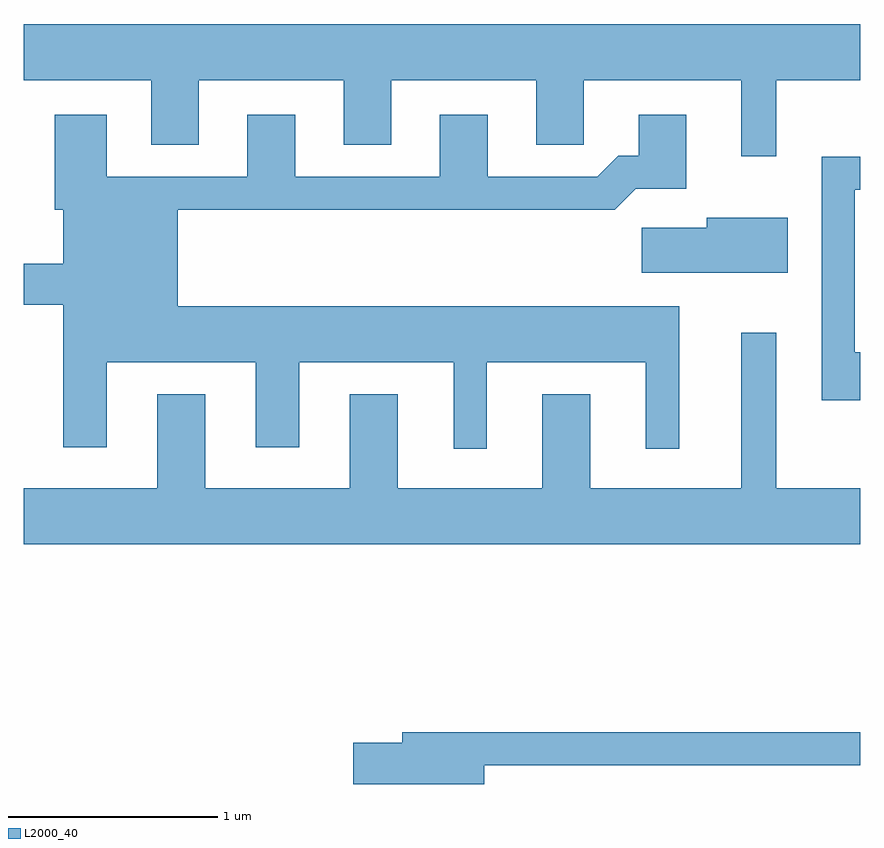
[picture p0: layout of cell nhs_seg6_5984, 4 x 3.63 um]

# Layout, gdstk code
import gdstk
lib = gdstk.Library(unit=1e-6, precision=1e-09)
def P(c, l, *ps):  # polygons
    for p in ps: c.add(gdstk.Polygon(p, *l))
L2000_40 = (2000, 40)

nhs_seg6_5984 = lib.new_cell('nhs_seg6_5984')
P(nhs_seg6_5984, L2000_40, [(371.209,1547.816),(371.611,1547.816),(371.611,1548.084),(367.611,1548.084),(367.611,1547.816),(368.221,1547.816),(368.221,1547.506),(368.449,1547.506),(368.449,1547.816),(369.141,1547.816),(369.141,1547.506),(369.369,1547.506),(369.369,1547.816),(370.061,1547.816),(370.061,1547.506),(370.289,1547.506),(370.289,1547.816),(371.041,1547.816),(371.041,1547.453),(371.209,1547.453)],
  [(369.824,1546.466),(370.586,1546.466),(370.586,1546.053),(370.744,1546.053),(370.744,1546.734),(368.349,1546.734),(368.349,1547.196),(370.437,1547.196),(370.537,1547.296),(370.779,1547.296),(370.779,1547.649),(370.551,1547.649),(370.551,1547.454),(370.454,1547.454),(370.354,1547.354),(369.829,1547.354),(369.829,1547.649),(369.601,1547.649),(369.601,1547.354),(368.909,1547.354),(368.909,1547.649),(368.681,1547.649),(368.681,1547.354),(368.009,1547.354),(368.009,1547.649),(367.761,1547.649),(367.761,1547.196),(367.801,1547.196),(367.801,1546.939),(367.611,1546.939),(367.611,1546.741),(367.801,1546.741),(367.801,1546.061),(368.009,1546.061),(368.009,1546.466),(368.721,1546.466),(368.721,1546.061),(368.929,1546.061),(368.929,1546.466),(369.666,1546.466),(369.666,1546.053),(369.824,1546.053)],
  [(371.611,1546.514),(371.584,1546.514),(371.584,1547.291),(371.611,1547.291),(371.611,1547.449),(371.426,1547.449),(371.426,1546.286),(371.611,1546.286)],
  [(371.264,1547.159),(370.876,1547.159),(370.876,1547.109),(370.566,1547.109),(370.566,1546.896),(371.264,1546.896)],
  [(371.611,1545.864),(371.209,1545.864),(371.209,1546.608),(371.041,1546.608),(371.041,1545.864),(370.319,1545.864),(370.319,1546.314),(370.091,1546.314),(370.091,1545.864),(369.399,1545.864),(369.399,1546.314),(369.171,1546.314),(369.171,1545.864),(368.479,1545.864),(368.479,1546.314),(368.251,1546.314),(368.251,1545.864),(367.611,1545.864),(367.611,1545.596),(371.611,1545.596)],
  [(369.814,1544.541),(371.611,1544.541),(371.611,1544.699),(369.421,1544.699),(369.421,1544.649),(369.186,1544.649),(369.186,1544.451),(369.814,1544.451)])

lib.write_gds('nhs_seg6_5984.gds')
